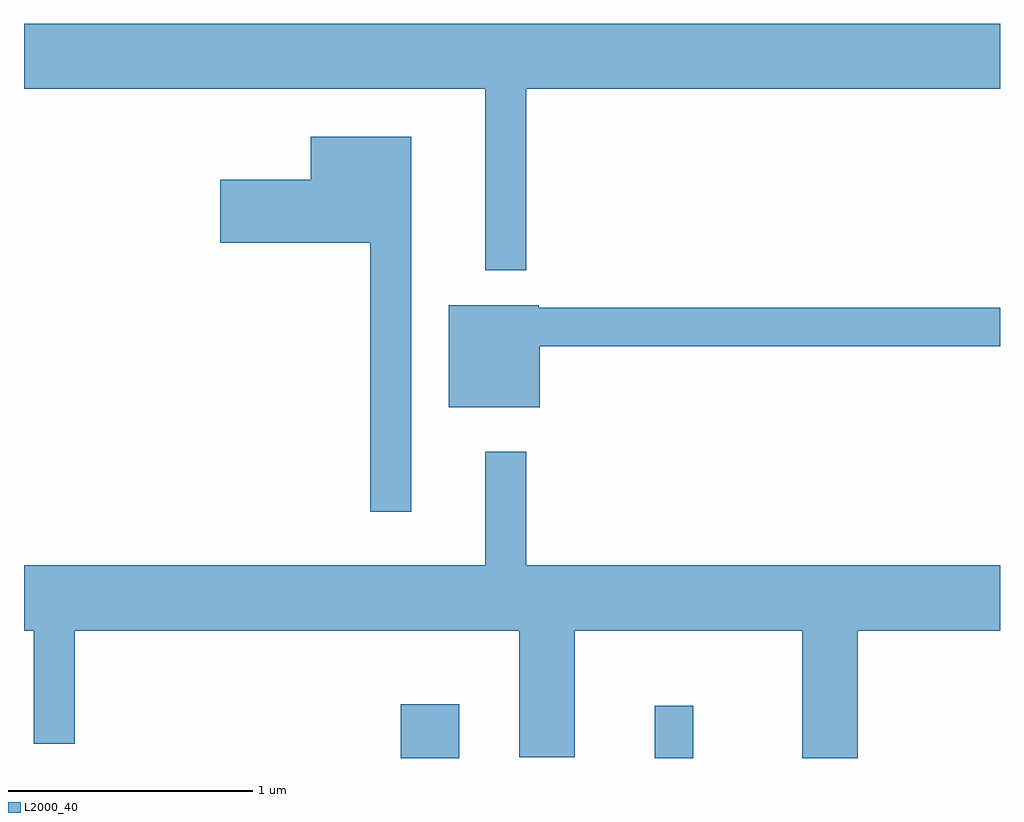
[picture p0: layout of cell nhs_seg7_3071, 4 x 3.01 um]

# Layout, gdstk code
import gdstk
lib = gdstk.Library(unit=1e-6, precision=1e-09)
def R(c, l, rs):  # rectangles x0, y0, x1, y1
    for r in rs: c.add(gdstk.rectangle(r[:2], r[2:], *l))
def P(c, l, *ps):  # polygons
    for p in ps: c.add(gdstk.Polygon(p, *l))
L2000_40 = (2000, 40)

nhs_seg7_3071 = lib.new_cell('nhs_seg7_3071')
R(nhs_seg7_3071, L2000_40, [(281.156,1698.252,281.394,1698.474), (282.196,1698.252,282.354,1698.468)])
P(nhs_seg7_3071, L2000_40, [(281.669,1700.996),(283.611,1700.996),(283.611,1701.264),(279.611,1701.264),(279.611,1700.996),(281.501,1700.996),(281.501,1700.253),(281.669,1700.253)],
  [(281.199,1700.799),(280.786,1700.799),(280.786,1700.624),(280.416,1700.624),(280.416,1700.366),(281.031,1700.366),(281.031,1699.263),(281.199,1699.263)],
  [(281.724,1699.941),(283.611,1699.941),(283.611,1700.099),(281.72,1700.099),(281.72,1700.109),(281.351,1700.109),(281.351,1699.691),(281.724,1699.691)],
  [(283.029,1698.776),(283.611,1698.776),(283.611,1699.044),(281.669,1699.044),(281.669,1699.508),(281.501,1699.508),(281.501,1699.044),(279.611,1699.044),(279.611,1698.776),(279.651,1698.776),(279.651,1698.313),(279.819,1698.313),(279.819,1698.776),(281.641,1698.776),(281.641,1698.256),(281.869,1698.256),(281.869,1698.776),(282.801,1698.776),(282.801,1698.252),(283.029,1698.252)])

lib.write_gds('nhs_seg7_3071.gds')
